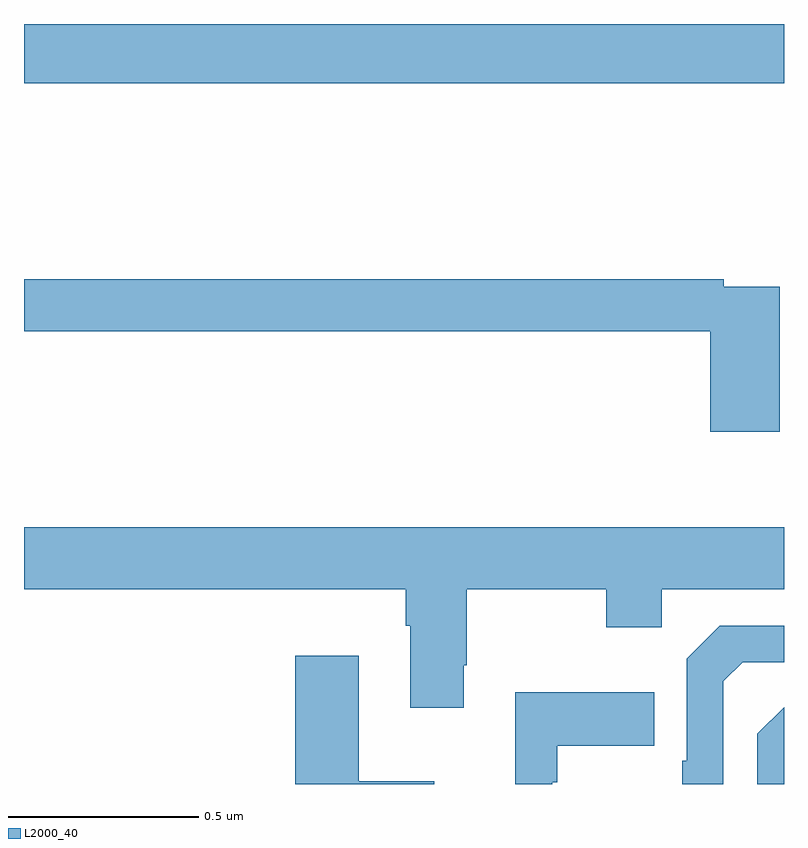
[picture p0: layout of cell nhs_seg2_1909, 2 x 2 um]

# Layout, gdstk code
import gdstk
lib = gdstk.Library(unit=1e-6, precision=1e-09)
def R(c, l, rs):  # rectangles x0, y0, x1, y1
    for r in rs: c.add(gdstk.rectangle(r[:2], r[2:], *l))
def P(c, l, *ps):  # polygons
    for p in ps: c.add(gdstk.Polygon(p, *l))
L2000_40 = (2000, 40)

nhs_seg2_1909 = lib.new_cell('nhs_seg2_1909')
R(nhs_seg2_1909, L2000_40, [(134,639.644,136,639.8)])
P(nhs_seg2_1909, L2000_40, [(135.989,639.108),(135.842,639.108),(135.842,639.128),(134,639.128),(134,638.992),(135.806,638.992),(135.806,638.727),(135.989,638.727)],
  [(135.157,638.113),(135.165,638.113),(135.165,638.312),(135.532,638.312),(135.532,638.213),(135.678,638.213),(135.678,638.312),(136,638.312),(136,638.476),(134,638.476),(134,638.312),(135.005,638.312),(135.005,638.216),(135.017,638.216),(135.017,638.001),(135.157,638.001)],
  [(135.84,638.07),(135.891,638.121),(136,638.121),(136,638.217),(135.831,638.217),(135.744,638.13),(135.744,637.861),(135.732,637.861),(135.732,637.8),(135.84,637.8)],
  [(135.079,637.807),(134.881,637.807),(134.881,638.137),(134.714,638.137),(134.714,637.8),(135.079,637.8)],
  [(135.39,637.805),(135.403,637.805),(135.403,637.901),(135.659,637.901),(135.659,638.041),(135.293,638.041),(135.293,637.8),(135.39,637.8)],
  [(136,638.002),(135.93,637.932),(135.93,637.8),(136,637.8)])

lib.write_gds('nhs_seg2_1909.gds')
